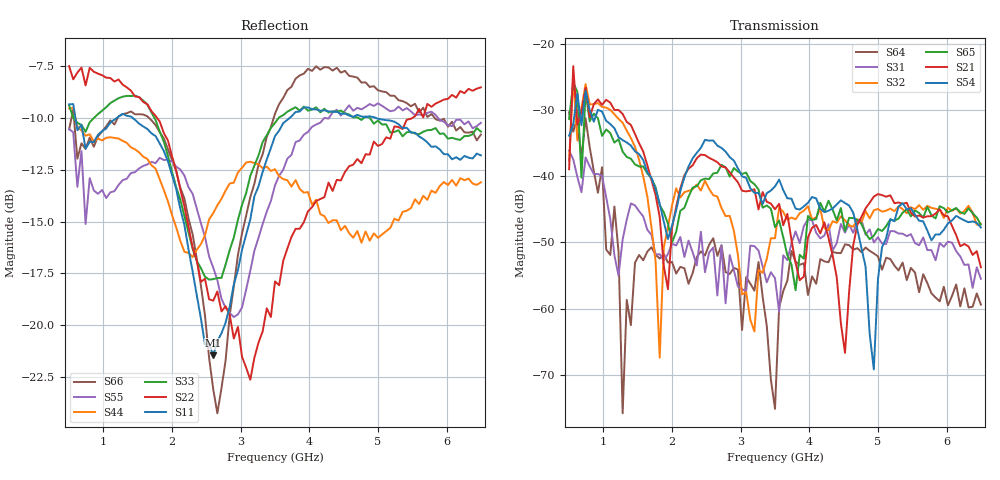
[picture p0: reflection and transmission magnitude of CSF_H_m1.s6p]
!Keysight Technologies,M9804A,MY58100912,A.14.10.03
!Date: Thursday, April 27, 2023 10:28:33
!Correction: S11(C  6-Port  )
!S12(C  6-Port  )
!S13(C  6-Port  )
!S14(C  6-Port  )
!S15(C  6-Port  )
!S16(C  6-Port  )
!S21(C  6-Port  )
!S22(C  6-Port  )
!S23(C  6-Port  )
!S24(C  6-Port  )
!S25(C  6-Port  )
!S26(C  6-Port  )
!S31(C  6-Port  )
!S32(C  6-Port  )
!S33(C  6-Port  )
!S34(C  6-Port  )
!S35(C  6-Port  )
!S36(C  6-Port  )
!S41(C  6-Port  )
!S42(C  6-Port  )
!S43(C  6-Port  )
!S44(C  6-Port  )
!S45(C  6-Port  )
!S46(C  6-Port  )
!S51(C  6-Port  )
!S52(C  6-Port  )
!S53(C  6-Port  )
!S54(C  6-Port  )
!S55(C  6-Port  )
!S56(C  6-Port  )
!S61(C  6-Port  )
!S62(C  6-Port  )
!S63(C  6-Port  )
!S64(C  6-Port  )
!S65(C  6-Port  )
!S66(C  6-Port  )
!S6P File: Measurement: :
# Hz S  RI  R 50
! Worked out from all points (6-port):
!   101 points, 500 MHz to 6.5 GHz, reference 50 ohm
!   strongest paths, dB at 500 MHz, 2 GHz, 3.5 GHz, 5 GHz, 6.5 GHz:
!     S54: -33.9, -47.4, -41.5, -55.6, -47.7
!     S21: -39.0, -47.9, -45.0, -42.7, -53.8
!     S65: -31.4, -50.0, -47.7, -48.0, -47.3
!     S32: -37.7, -44.4, -49.4, -45.0, -47.2
!     S31: -36.1, -50.2, -55.4, -49.2, -55.5
!     S64: -30.4, -53.0, -75.1, -52.1, -59.4
!   lowest |S11| = -21.5 dB at 2.6 GHz (marker M1), VSWR 1.18, Z = 42.5 + j2.16 ohm
!   |S11| at or under -10 dB: 592.1 MHz to 1.192 GHz (600 MHz wide, 67.3 % of centre); 1.428 GHz to 3.711 GHz (2.283 GHz wide, 88.8 % of centre); 4.974 GHz to end of sweep
